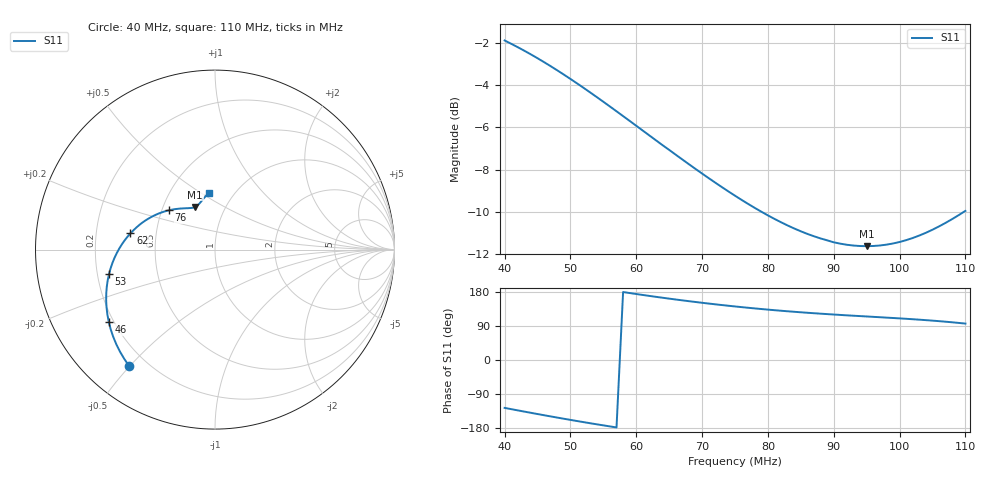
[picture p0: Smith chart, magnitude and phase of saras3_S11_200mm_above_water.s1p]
! S-parameter export from POSTFEKO
! Filename: 200mm_no_tilt_sigma_001
! Creation date: 2025-03-03 14:05:19
# Hz S MA R  5.0000000E+01
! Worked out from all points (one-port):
!   71 points, 40 MHz to 110 MHz, reference 50 ohm
!   lowest |S11| = -11.6 dB at 95 MHz (marker M1), VSWR 1.71, Z = 36.1 + j18.4 ohm
!   |S11| at or under -10 dB: 79.01 MHz to 109.8 MHz (30.78 MHz wide, 32.6 % of centre)
!   S11 on the Smith chart (normalised r, x): 40 MHz: 0.13, -0.50; 46 MHz: 0.18, -0.30; 53 MHz: 0.25, -0.11; 62 MHz: 0.35, +0.08; 76 MHz: 0.54, +0.27; 110 MHz: 0.77, +0.54
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4e7  0.806 -126.4
4.1e7  0.7915 -129.7
4.3e7  0.762 -136.2
4.5e7  0.7315 -142.6
4.6e7  0.7159 -145.7
4.7e7  0.7003 -148.9
4.9e7  0.6689 -155.0
5.1e7  0.6376 -161.0
5.3e7  0.6068 -166.9
5.6e7  0.5619 -175.3
5.8e7  0.5333 179.3
6e7  0.5058 174.1
6.2e7  0.4796 169.1
6.5e7  0.4433 161.9
6.7e7  0.4207 157.4
7.1e7  0.38 148.9
7.5e7  0.3452 141.3
7.6e7  0.3374 139.5
8e7  0.31 133.0
8.4e7  0.2886 127.2
8.7e7  0.2766 123.4
9e7  0.2676 120.0
9.3e7  0.2629 116.9
9.5e7  0.262 114.9
9.8e7  0.2642 111.9
1.02e8  0.274 107.6
1.06e8  0.2919 102.5
1.1e8  0.3177 96.1
